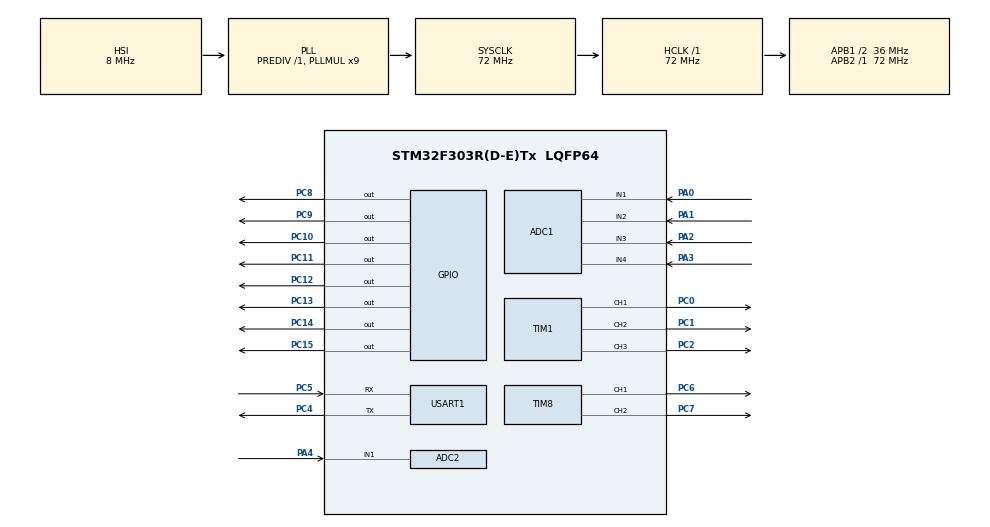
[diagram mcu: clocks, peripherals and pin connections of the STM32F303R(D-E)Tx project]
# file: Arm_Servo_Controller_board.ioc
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ADC1.Channel-0\#ChannelRegularConversion=ADC_CHANNEL_1
ADC1.ClockPrescaler=ADC_CLOCK_SYNC_PCLK_DIV2
ADC1.NbrOfConversionFlag=1
ADC1.Offset-0\#ChannelRegularConversion=0
ADC1.OffsetNumber-0\#ChannelRegularConversion=ADC_OFFSET_NONE
ADC1.Rank-0\#ChannelRegularConversion=1
ADC1.SamplingTime-0\#ChannelRegularConversion=ADC_SAMPLETIME_1CYCLE_5
ADC1.master=1
ADC2.Channel-0\#ChannelRegularConversion=ADC_CHANNEL_1
ADC2.ClockPrescaler=ADC_CLOCK_SYNC_PCLK_DIV2
ADC2.NbrOfConversionFlag=1
ADC2.Offset-0\#ChannelRegularConversion=0
ADC2.OffsetNumber-0\#ChannelRegularConversion=ADC_OFFSET_NONE
ADC2.Rank-0\#ChannelRegularConversion=1
ADC2.SamplingTime-0\#ChannelRegularConversion=ADC_SAMPLETIME_1CYCLE_5
ADC2.SamplingTimeOPAMP-0\#ChannelRegularConversion=ADC_SAMPLETIME_7CYCLES_5
Dma.ADC1.0.Direction=DMA_PERIPH_TO_MEMORY
Dma.ADC1.0.Instance=DMA1_Channel1
Dma.ADC1.0.MemDataAlignment=DMA_MDATAALIGN_HALFWORD
Dma.ADC1.0.MemInc=DMA_MINC_ENABLE
Dma.ADC1.0.Mode=DMA_CIRCULAR
Dma.ADC1.0.PeriphDataAlignment=DMA_PDATAALIGN_HALFWORD
Dma.ADC1.0.PeriphInc=DMA_PINC_DISABLE
Dma.ADC1.0.Priority=DMA_PRIORITY_LOW
Dma.ADC2.1.Direction=DMA_PERIPH_TO_MEMORY
Dma.ADC2.1.Instance=DMA2_Channel1
Dma.ADC2.1.MemDataAlignment=DMA_MDATAALIGN_HALFWORD
Dma.ADC2.1.MemInc=DMA_MINC_ENABLE
Dma.ADC2.1.Mode=DMA_CIRCULAR
Dma.ADC2.1.PeriphDataAlignment=DMA_PDATAALIGN_HALFWORD
Dma.ADC2.1.PeriphInc=DMA_PINC_DISABLE
Dma.ADC2.1.Priority=DMA_PRIORITY_LOW
Dma.Request0=ADC1
Dma.Request1=ADC2
Mcu.Family=STM32F3
Mcu.Name=STM32F303R(D-E)Tx
Mcu.Package=LQFP64
NVIC.DMA1_Channel1_IRQn=true\:0\:0\:false\:false\:true\:false\:true\:true
NVIC.DMA2_Channel1_IRQn=true\:0\:0\:false\:false\:true\:false\:true\:true
NVIC.PriorityGroup=NVIC_PRIORITYGROUP_4
NVIC.TIM2_IRQn=true\:0\:0\:false\:false\:true\:true\:true\:true
NVIC.USART1_IRQn=true\:0\:0\:false\:false\:true\:true\:true\:true
PA0.Mode=IN1-Single-Ended
PA0.Signal=ADC1_IN1
PA1.Mode=IN2-Single-Ended
PA1.Signal=ADC1_IN2
PA13.Mode=JTAG_5_pins
PA13.Signal=SYS_JTMS-SWDIO
PA14.Mode=JTAG_5_pins
PA14.Signal=SYS_JTCK-SWCLK
PA15.Mode=JTAG_5_pins
PA15.Signal=SYS_JTDI
PA2.Mode=IN3-Single-Ended
PA2.Signal=ADC1_IN3
PA3.Mode=IN4-Single-Ended
PA3.Signal=ADC1_IN4
PA4.Mode=IN1-Single-Ended
PA4.Signal=ADC2_IN1
PB3.Mode=JTAG_5_pins
PB3.Signal=SYS_JTDO-TRACESWO
PB4.Mode=JTAG_5_pins
PB4.Signal=SYS_NJTRST
PC0.Signal=S_TIM1_CH1
PC1.Signal=S_TIM1_CH2
PC10.Signal=GPIO_Output
PC11.Signal=GPIO_Output
PC12.Signal=GPIO_Output
PC13.Signal=GPIO_Output
PC14-OSC32_IN.Signal=GPIO_Output
PC15-OSC32_OUT.Signal=GPIO_Output
PC2.Signal=S_TIM1_CH3
PC4.Mode=Asynchronous
PC4.Signal=USART1_TX
PC5.Mode=Asynchronous
PC5.Signal=USART1_RX
PC6.Signal=S_TIM8_CH1
PC7.Signal=S_TIM8_CH2
PC8.Signal=GPIO_Output
PC9.Signal=GPIO_Output
ProjectManager.HeapSize=0x200
ProjectManager.StackSize=0x400
ProjectManager.TargetToolchain=STM32CubeIDE
RCC.AHBFreq_Value=72000000
RCC.APB1CLKDivider=RCC_HCLK_DIV2
RCC.APB1Freq_Value=36000000
RCC.APB1TimFreq_Value=72000000
RCC.APB2Freq_Value=72000000
RCC.APB2TimFreq_Value=72000000
RCC.CortexFreq_Value=72000000
RCC.HCLKFreq_Value=72000000
RCC.HSE_VALUE=8000000
RCC.HSI_VALUE=8000000
RCC.LSE_VALUE=32768
RCC.PLLMUL=RCC_PLL_MUL9
RCC.SYSCLKFreq_VALUE=72000000
RCC.SYSCLKSourceVirtual=RCC_SYSCLKSOURCE_PLLCLK
RCC.USBFreq_Value=72000000
SH.S_TIM1_CH1.0=TIM1_CH1,PWM Generation1 CH1
SH.S_TIM1_CH2.0=TIM1_CH2,PWM Generation2 CH2
SH.S_TIM1_CH3.0=TIM1_CH3,PWM Generation3 CH3
SH.S_TIM8_CH1.0=TIM8_CH1,PWM Generation1 CH1
SH.S_TIM8_CH2.0=TIM8_CH2,PWM Generation2 CH2
TIM1.Channel-PWM\ Generation1\ CH1=TIM_CHANNEL_1
TIM1.Channel-PWM\ Generation2\ CH2=TIM_CHANNEL_2
TIM1.Channel-PWM\ Generation3\ CH3=TIM_CHANNEL_3
TIM8.Channel-PWM\ Generation1\ CH1=TIM_CHANNEL_1
TIM8.Channel-PWM\ Generation2\ CH2=TIM_CHANNEL_2
USART1.VirtualMode-Asynchronous=VM_ASYNC
VP_TIM1_VS_ClockSourceINT.Mode=Internal
VP_TIM2_VS_ClockSourceINT.Mode=Internal
VP_TIM8_VS_ClockSourceINT.Mode=Internal
board=custom

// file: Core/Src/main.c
/* USER CODE BEGIN Header */
/**
  ******************************************************************************
  * @file           : main.c
  * @brief          : Main program body
  ******************************************************************************
  * @attention
  *
  * Copyright (c) 2025 STMicroelectronics.
  * All rights reserved.
  *
  * This software is licensed under terms that can be found in the LICENSE file
  * in the root directory of this software component.
  * If no LICENSE file comes with this software, it is provided AS-IS.
  *
  ******************************************************************************
  */
/* USER CODE END Header */
#include "main.h"
#include "adc.h"
#include "dma.h"
#include "tim.h"
#include "usart.h"
#include "gpio.h"

/* USER CODE BEGIN Includes */

#include "pwm.h"
#include "adc_reading.h"
#include "uart_tr.h"

/* USER CODE END Includes */

void SystemClock_Config(void);

int main(void)
{

  /* MCU Configuration--------------------------------------------------------*/

  /* Reset of all peripherals, Initializes the Flash interface and the Systick. */
  HAL_Init();

  /* Configure the system clock */
  SystemClock_Config();

  /* Initialize all configured peripherals */
  MX_GPIO_Init();
  MX_DMA_Init();
  MX_ADC1_Init();
  MX_ADC2_Init();
  MX_TIM1_Init();
  MX_TIM2_Init();
  MX_TIM8_Init();
  MX_USART1_UART_Init();
  /* USER CODE BEGIN 2 */
  HAL_TIM_PWM_Start(&htim1, TIM_CHANNEL_1);
	HAL_TIM_PWM_Start(&htim1, TIM_CHANNEL_2);
	HAL_TIM_PWM_Start(&htim1, TIM_CHANNEL_3);
	HAL_TIM_PWM_Start(&htim8, TIM_CHANNEL_1);
	HAL_TIM_PWM_Start(&htim8, TIM_CHANNEL_2);

	HAL_TIM_Base_Start_IT(&htim2);

	HAL_ADC_Start_DMA(&hadc1, adc1_values, 4);
	HAL_ADC_Start_DMA(&hadc2, adc2_values, 1);

	PWM_var_init();
	//6 BYTES MUST BE SENT
	init_uart_rx_interrupt(32);

  /* USER CODE END 2 */

  /* Infinite loop */
  /* USER CODE BEGIN WHILE */
  while (1)
  {
	  HAL_GPIO_TogglePin(GPIOC, 0x0100);
	  HAL_Delay(1000);
    /* USER CODE END WHILE */

  }
}

void SystemClock_Config(void)
{
  RCC_OscInitTypeDef RCC_OscInitStruct = {0};
  RCC_ClkInitTypeDef RCC_ClkInitStruct = {0};
  RCC_PeriphCLKInitTypeDef PeriphClkInit = {0};

  /** Initializes the RCC Oscillators according to the specified parameters
  * in the RCC_OscInitTypeDef structure.
  */
  RCC_OscInitStruct.OscillatorType = RCC_OSCILLATORTYPE_HSI;
  RCC_OscInitStruct.HSIState = RCC_HSI_ON;
  RCC_OscInitStruct.HSICalibrationValue = RCC_HSICALIBRATION_DEFAULT;
  RCC_OscInitStruct.PLL.PLLState = RCC_PLL_ON;
  RCC_OscInitStruct.PLL.PLLSource = RCC_PLLSOURCE_HSI;
  RCC_OscInitStruct.PLL.PLLMUL = RCC_PLL_MUL9;
  RCC_OscInitStruct.PLL.PREDIV = RCC_PREDIV_DIV1;
  if (HAL_RCC_OscConfig(&RCC_OscInitStruct) != HAL_OK)
  {
    Error_Handler();
  }

  /** Initializes the CPU, AHB and APB buses clocks
  */
  RCC_ClkInitStruct.ClockType = RCC_CLOCKTYPE_HCLK|RCC_CLOCKTYPE_SYSCLK
                              |RCC_CLOCKTYPE_PCLK1|RCC_CLOCKTYPE_PCLK2;
  RCC_ClkInitStruct.SYSCLKSource = RCC_SYSCLKSOURCE_PLLCLK;
  RCC_ClkInitStruct.AHBCLKDivider = RCC_SYSCLK_DIV1;
  RCC_ClkInitStruct.APB1CLKDivider = RCC_HCLK_DIV2;
  RCC_ClkInitStruct.APB2CLKDivider = RCC_HCLK_DIV1;

  if (HAL_RCC_ClockConfig(&RCC_ClkInitStruct, FLASH_LATENCY_2) != HAL_OK)
  {
    Error_Handler();
  }
  PeriphClkInit.PeriphClockSelection = RCC_PERIPHCLK_USART1|RCC_PERIPHCLK_TIM1
                              |RCC_PERIPHCLK_TIM8|RCC_PERIPHCLK_TIM2;
  PeriphClkInit.Usart1ClockSelection = RCC_USART1CLKSOURCE_PCLK2;
  PeriphClkInit.Tim1ClockSelection = RCC_TIM1CLK_HCLK;
  PeriphClkInit.Tim8ClockSelection = RCC_TIM8CLK_HCLK;
  PeriphClkInit.Tim2ClockSelection = RCC_TIM2CLK_HCLK;
  if (HAL_RCCEx_PeriphCLKConfig(&PeriphClkInit) != HAL_OK)
  {
    Error_Handler();
  }
}

void Error_Handler(void)
{
  __disable_irq();
  while (1)
  {
  }
}
